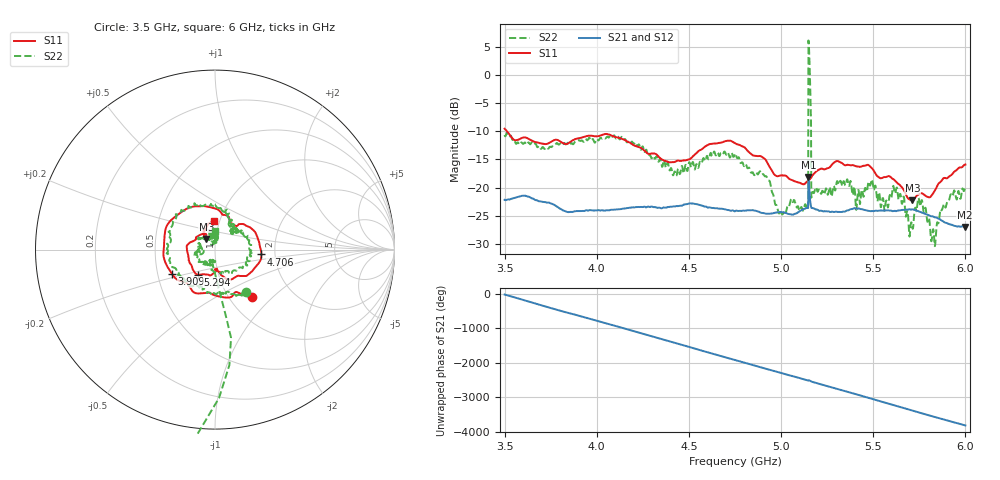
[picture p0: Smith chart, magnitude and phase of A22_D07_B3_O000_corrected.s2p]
! Created with skrf 1.9.0 (http://scikit-rf.org).
# Hz S RI R 50.0
!freq ReS11 ImS11 ReS21 ImS21 ReS12 ImS12 ReS22 ImS22
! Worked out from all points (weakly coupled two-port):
!   1601 points, 3.5 GHz to 6 GHz, reference 50 ohm
!   highest |S21| = -18.11 dB at 5.148 GHz (marker M1); lowest = -27.0 dB at 5.995 GHz (marker M2)
!   lowest |S11| = -22.3 dB at 5.713 GHz (marker M3), VSWR 1.17, Z = 45.1 + j5.43 ohm
!   |S11| at or under -10 dB: 3.513 GHz to end of sweep
!   |S22| runs from -30.4 to 6.1 dB; largest |S21 - S12| = 0.00097
!   S11 on the Smith chart (normalised r, x): 3.5 GHz: 1.27, -0.75; 3.909 GHz: 0.59, -0.17; 4.706 GHz: 1.69, -0.10; 5.294 GHz: 0.80, -0.23; 6 GHz: 0.94, +0.31
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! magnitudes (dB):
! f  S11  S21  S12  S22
! 3.5 GHz  -9.6  -22.2  -22.2  -10.7
! 3.909 GHz  -11.2  -24.2  -24.2  -11.7
! 3.917 GHz  -11.2  -24.2  -24.2  -11.6
! 4.334 GHz  -14.5  -23.6  -23.6  -15.4
! 4.706 GHz  -11.7  -24.0  -23.9  -14.0
! 4.75 GHz  -12.1  -24.2  -24.1  -14.0
! 4.927 GHz  -15.7  -24.6  -24.7  -18.4
! 4.995 GHz  -17.9  -24.4  -24.3  -24.0
! 5.111 GHz  -19.3  -24.0  -24.0  -23.5
! 5.134 GHz  -19.1  -23.7  -23.6  -23.3
! 5.148 GHz  -18.7  -18.1  -18.1  6.1
! 5.161 GHz  -18.3  -23.1  -23.1  -6.0
! 5.167 GHz  -18.0  -23.7  -23.6  -21.2
! 5.177 GHz  -17.6  -23.7  -23.7  -21.0
! 5.294 GHz  -15.4  -24.3  -24.3  -20.5
! 5.584 GHz  -18.0  -24.1  -24.1  -22.5
! 5.619 GHz  -18.8  -24.1  -24.2  -21.1
! 5.713 GHz  -22.3  -23.9  -23.9  -27.1
! 5.755 GHz  -21.1  -24.3  -24.3  -23.2
! 5.827 GHz  -21.0  -25.2  -25.2  -27.6
! 5.995 GHz  -15.9  -27.0  -26.9  -20.4
! 6 GHz  -15.9  -27.0  -26.9  -19.7
